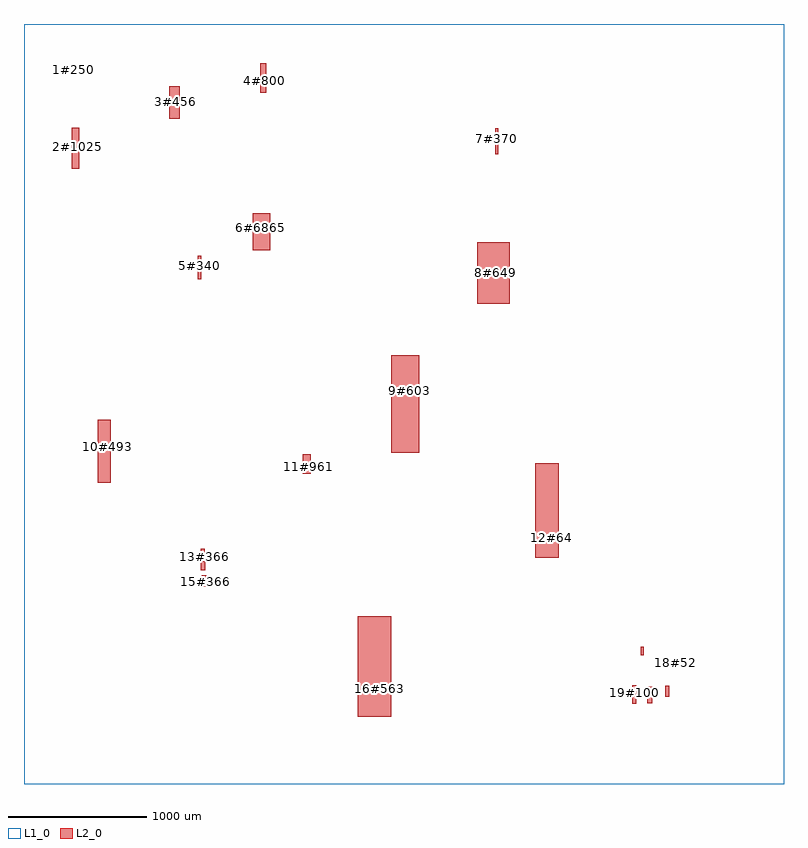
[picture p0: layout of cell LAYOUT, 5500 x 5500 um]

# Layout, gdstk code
import gdstk
lib = gdstk.Library(unit=1e-6, precision=1e-09)
def R(c, l, rs):  # rectangles x0, y0, x1, y1
    for r in rs: c.add(gdstk.rectangle(r[:2], r[2:], *l))
L1_0 = (1, 0)
L2_0 = (2, 0)

layout = lib.new_cell('LAYOUT')
R(layout, L1_0, [(-2750,-2750,2750,2750)])
R(layout, L2_0, [(-336,-2262,-93,-1537), (1653,-2169,1682,-2036), (1762,-2166,1797,-2046), (1889,-2117,1920,-2039), (1961,-1900,1975,-1842), (1714,-1818,1735,-1757), (-1463,-1318,-1431,-1241), (-1470,-1203,-1440,-1139), (-1472,-1114,-1441,-1048), (951,-1114,1120,-429), (-2216,-569,-2122,-113), (-733,-505,-674,-363), (-93,-354,110,354), (530,727,767,1170), (-1494,903,-1467,1072), (-1093,1114,-967,1379), (-2406,1703,-2349,1998), (661,1808,681,1994), (-1700,2064,-1623,2298), (-1039,2251,-997,2465), (-2401,2379,-2379,2460)])
layout.add(gdstk.Label('1#250', (-2389,2422), layer=2, texttype=0))
layout.add(gdstk.Label('4#800', (-1010,2344), layer=2, texttype=0))
layout.add(gdstk.Label('3#456', (-1657,2190), layer=2, texttype=0))
layout.add(gdstk.Label('2#1025', (-2366,1863), layer=2, texttype=0))
layout.add(gdstk.Label('6#6865', (-1036,1279), layer=2, texttype=0))
layout.add(gdstk.Label('5#340', (-1483,1000), layer=2, texttype=0))
layout.add(gdstk.Label('10#493', (-2143,-309), layer=2, texttype=0))
layout.add(gdstk.Label('9#603', (38,101), layer=2, texttype=0))
layout.add(gdstk.Label('11#961', (-692,-454), layer=2, texttype=0))
layout.add(gdstk.Label('13#366', (-1447,-1105), layer=2, texttype=0))
layout.add(gdstk.Label('14#366', (-1451,-1188), layer=2, texttype=0))
layout.add(gdstk.Label('15#366', (-1440,-1281), layer=2, texttype=0))
layout.add(gdstk.Label('16#563', (-174,-2056), layer=2, texttype=0))
layout.add(gdstk.Label('12#64', (1067,-966), layer=2, texttype=0))
layout.add(gdstk.Label('19#100', (1670,-2088), layer=2, texttype=0))
layout.add(gdstk.Label('20#100', (1782,-2086), layer=2, texttype=0))
layout.add(gdstk.Label('21#100', (1899,-2073), layer=2, texttype=0))
layout.add(gdstk.Label('18#52', (1968,-1870), layer=2, texttype=0))
layout.add(gdstk.Label('17#38', (1734,-1781), layer=2, texttype=0))
layout.add(gdstk.Label('8#649', (664,955), layer=2, texttype=0))
layout.add(gdstk.Label('7#370', (668,1918), layer=2, texttype=0))

lib.write_gds('LAYOUT.gds')
